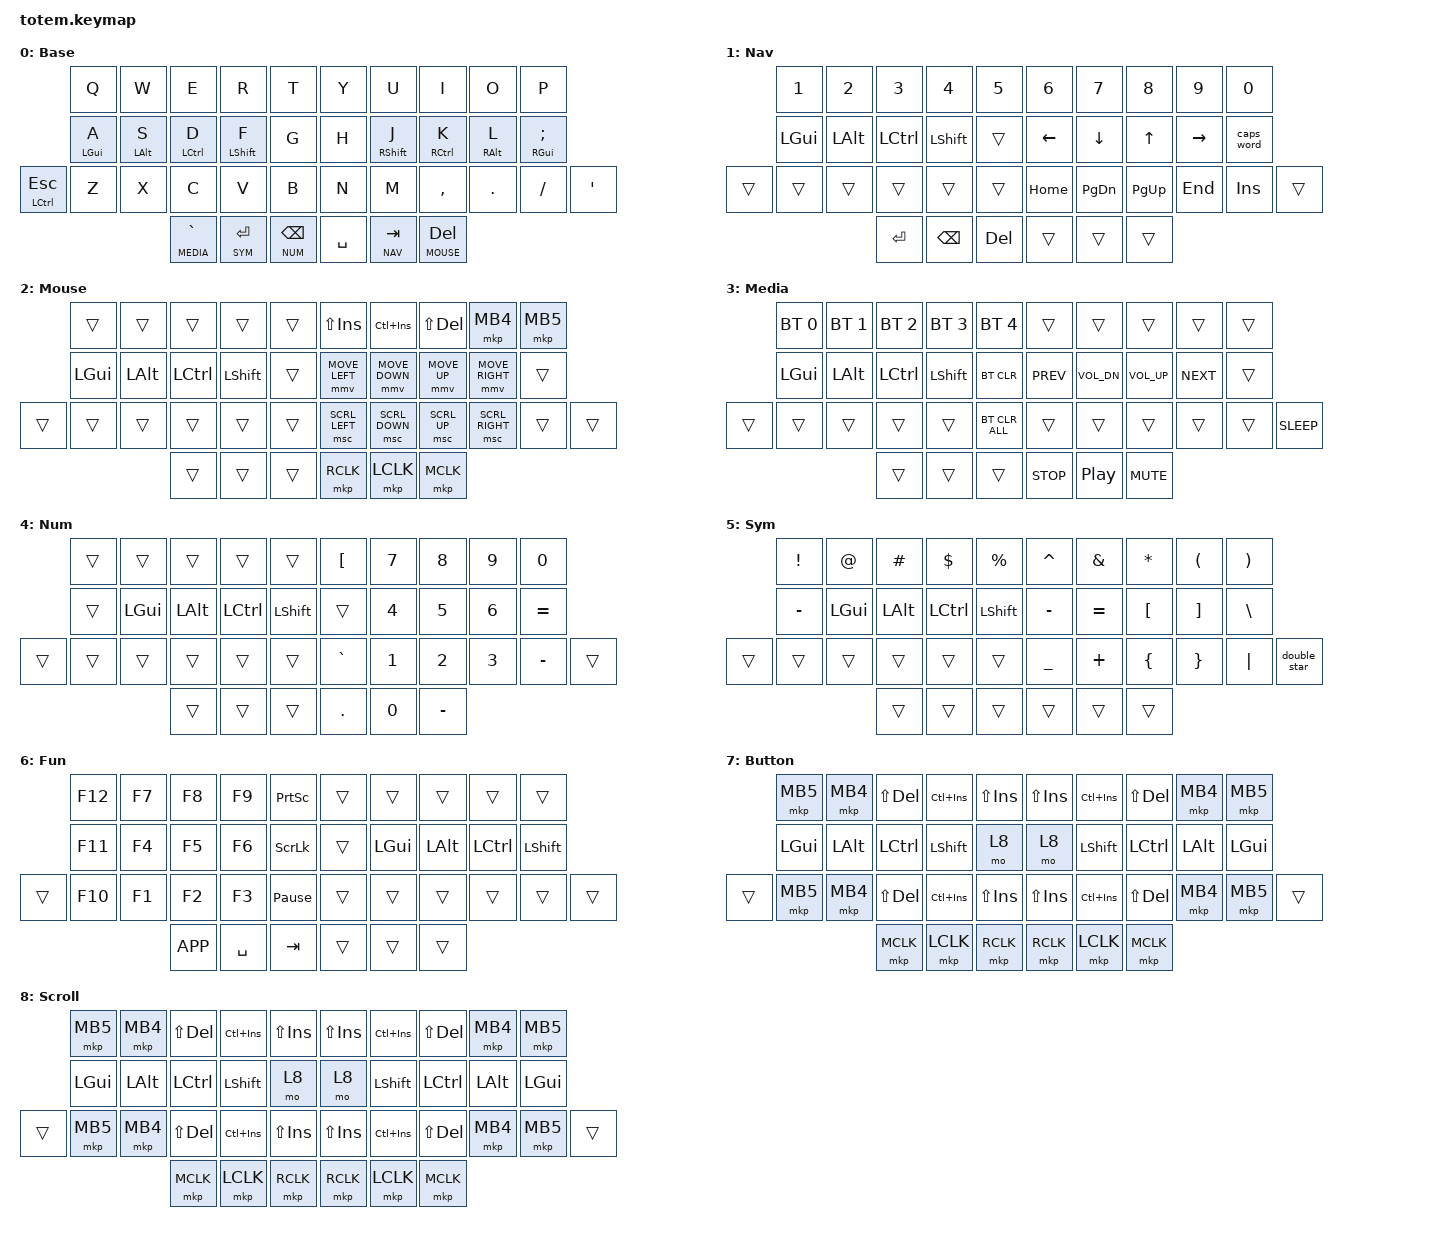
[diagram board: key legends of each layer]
//
//                                                        ▀▀▀▀▀     ▀▀▀▀▀          ▀▀█▀▀
//                                                        ▄▀▀▀▄  ▄  ▄▀▀▀▄  ▄  ▄▀▀▀▄  █  ▄▀▀▀▄
//                                                        █   █  █  █   █  █  █   █  █  █   █
//                                                         ▀▀▀   █   ▀▀▀   █   ▀▀▀   ▀   ▀▀▀
//                                                               █      ▄▄▄█▄▄▄    █   █  
//                                                               ▀      █  █  █     █▄█
//                                                             ▀▀▀▀▀    █  █  █      ▀
//                                                                      ▀  ▀  ▀
//
// ▄▄▄▄▄▄▄▄▄▄▄▄▄▄▄▄▄▄▄▄▄▄▄▄▄▄▄▄▄▄▄▄▄▄▄▄▄▄▄▄▄▄▄▄▄▄▄▄▄▄▄▄▄▄▄▄▄▄▄▄▄▄▄▄▄▄▄▄▄▄▄▄▄▄▄▄▄▄▄▄▄▄▄▄▄▄▄▄▄▄▄▄▄▄▄▄▄▄▄▄▄▄▄▄▄▄▄▄▄▄▄▄▄▄▄▄▄▄▄▄▄▄▄▄▄▄▄▄▄▄▄▄▄▄▄▄▄▄▄▄▄▄▄▄▄▄▄▄▄

#include <behaviors.dtsi>
#include <dt-bindings/zmk/keys.h>
#include <dt-bindings/zmk/pointing.h>
#include <dt-bindings/zmk/bt.h>

#define BASE        0
#define NAV         1
#define MOUSE       2
#define MEDIA       3
#define NUM         4
#define SYM         5
#define FUN         6
#define BUTTON      7

// Key position definitions for 38-key Totem layout

#define KEYS_L 0 1 2 3 4 10 11 12 13 14 20 21 22 23 24 25  // left hand
#define KEYS_R 5 6 7 8 9 15 16 17 18 19 26 27 28 29 30 31  // right hand
#define THUMBS 32 33 34 35 36 37                           // thumbs

&mt {
    quick-tap-ms = <100>;
    global-quick-tap;
    flavor = "tap-preferred";
    tapping-term-ms = <170>;
};

&lt {
    tapping-term-ms = <240>;
    flavor = "balanced";
    quick-tap-ms = <150>;
};

/ {
    macros {
        double_star: double_star {
            compatible = "zmk,behavior-macro";
            #binding-cells = <0>;
            bindings = <&kp ASTRK &kp ASTRK>;
        };
    };
};

/ {
    behaviors {
        // Timeless homerow mods for left hand
        // require-prior-idle-ms = 10500 / WPM (adjust based on typing speed)
        // Same-hand modifiers enabled (no hold-trigger restrictions)

        // hml: homerow_mods_left {
        //    compatible = "zmk,behavior-hold-tap";
        //    label = "HOMEROW_MODS_LEFT";
        //    #binding-cells = <2>;
        //    flavor = "balanced";
        //    tapping-term-ms = <280>;
        //    quick-tap-ms = <175>;
        //    require-prior-idle-ms = <150>;
        //    bindings = <&kp>, <&kp>;
        // };
        hml: homerow_mods_left {
            compatible = "zmk,behavior-hold-tap";
            label = "HOMEROW_MODS_LEFT";
            #binding-cells = <2>;
            flavor = "balanced";
            tapping-term-ms = <280>;
            quick-tap-ms = <175>;
            require-prior-idle-ms = <200>;
            bindings = <&kp>, <&kp>;
            hold-trigger-key-positions = <KEYS_R THUMBS>;
            hold-trigger-on-release;
        };

        // Timeless homerow mods for right hand
        // Urob's timeless config: opposite hand trigger only

        hmr: homerow_mods_right {
            compatible = "zmk,behavior-hold-tap";
            label = "HOMEROW_MODS_RIGHT";
            #binding-cells = <2>;
            flavor = "balanced";
            tapping-term-ms = <280>;
            quick-tap-ms = <175>;
            require-prior-idle-ms = <200>;
            bindings = <&kp>, <&kp>;

            hold-trigger-key-positions = <KEYS_L THUMBS>;
            hold-trigger-on-release;
        };
    };

    combos {
        compatible = "zmk,combos";

        shift_caps_word_combo {
            bindings = <&caps_word>;
            key-positions = <13 16>;
            timeout-ms = <100>;
            require-prior-idle-ms = <200>;
        };

        jk_escape_combo {
            bindings = <&kp ESC>;
            key-positions = <16 17>;
            timeout-ms = <50>;
            require-prior-idle-ms = <200>;
        };

        ui_backspace_combo {
            bindings = <&kp BSPC>;
            key-positions = <6 7>;
            timeout-ms = <50>;
            require-prior-idle-ms = <200>;
        };
    };

    keymap {
        compatible = "zmk,keymap";

        base_layer {
            display-name = "Base";
            bindings = <
               &kp Q        &kp W        &kp E          &kp R          &kp T            &kp Y        &kp U         &kp I         &kp O        &kp P
               &hml LGUI A  &hml LALT S  &hml LCTRL D   &hml LSHFT F   &kp G            &kp H        &hmr RSHFT J  &hmr RCTRL K  &hmr RALT L  &hmr RGUI SEMICOLON
&mt LCTRL ESC  &kp Z        &kp X        &kp C          &kp V          &kp B            &kp N        &kp M         &kp COMMA     &kp DOT      &kp SLASH            &kp SQT
                                         &lt MEDIA GRAVE  &lt SYM RET   &lt NUM BSPC    &kp SPACE     &lt NAV TAB    &lt MOUSE DEL
            >;
        };

        nav_layer {
            display-name = "Nav";
            bindings = <
        &kp N1    &kp N2    &kp N3     &kp N4     &kp N5    &kp N6       &kp N7       &kp N8       &kp N9      &kp N0
        &kp LGUI  &kp LALT  &kp LCTRL  &kp LSHFT  &trans    &kp LEFT     &kp DOWN     &kp UP       &kp RIGHT   &caps_word
&trans  &trans    &trans    &trans     &trans     &trans    &kp HOME     &kp PG_DN    &kp PG_UP    &kp END     &kp INS      &trans
                            &kp RET    &kp BSPC   &kp DEL   &trans       &trans       &trans
            >;
        };

        mouse_layer {
            display-name = "Mouse";
            bindings = <
        &trans    &trans    &trans     &trans     &trans    &kp LS(INS)     &kp LC(INS)     &kp LS(DEL)   &mkp MB4         &mkp MB5
        &kp LGUI  &kp LALT  &kp LCTRL  &kp LSHFT  &trans    &mmv MOVE_LEFT  &mmv MOVE_DOWN  &mmv MOVE_UP  &mmv MOVE_RIGHT  &trans
&trans  &trans    &trans    &trans     &trans     &trans    &msc SCRL_LEFT  &msc SCRL_DOWN  &msc SCRL_UP  &msc SCRL_RIGHT  &trans    &trans
                            &trans     &trans     &trans    &mkp RCLK       &mkp LCLK       &mkp MCLK
            >;
        };

        media_layer {
            display-name = "Media";
            bindings = <
        &bt BT_SEL 0  &bt BT_SEL 1  &bt BT_SEL 2  &bt BT_SEL 3  &bt BT_SEL 4    &trans      &trans        &trans        &trans      &trans
        &kp LGUI      &kp LALT      &kp LCTRL     &kp LSHFT     &bt BT_CLR      &kp C_PREV  &kp C_VOL_DN  &kp C_VOL_UP  &kp C_NEXT  &trans
&trans  &trans        &trans        &trans        &trans        &bt BT_CLR_ALL  &trans      &trans        &trans        &trans      &trans  &kp C_SLEEP
                                    &trans        &trans        &trans          &kp C_STOP  &kp C_PP      &kp C_MUTE
            >;
        };

        num_layer {
            display-name = "Num";
            bindings = <
        &trans  &trans     &trans     &trans    &trans       &kp LBKT  &kp N7  &kp N8   &kp N9  &kp N0
        &trans  &kp LGUI   &kp LALT   &kp LCTRL &kp LSHFT    &trans    &kp N4  &kp N5   &kp N6  &kp EQUAL
&trans  &trans  &trans     &trans     &trans    &trans       &kp GRAVE &kp N1  &kp N2   &kp N3  &kp MINUS  &trans
                           &trans     &trans    &trans       &kp DOT   &kp N0  &kp MINUS
            >;
        };

        sym_layer {
            display-name = "Sym";
            bindings = <
        &kp EXCL   &kp AT     &kp HASH  &kp DLLR  &kp PRCNT    &kp CARET  &kp AMPS   &kp ASTRK &kp LPAR  &kp RPAR
        &kp MINUS  &kp LGUI   &kp LALT  &kp LCTRL &kp LSHFT    &kp MINUS  &kp EQUAL  &kp LBKT  &kp RBKT  &kp BSLH
&trans  &trans     &trans     &trans    &trans    &trans       &kp UNDER  &kp PLUS   &kp LBRC  &kp RBRC  &kp PIPE  &double_star
                              &trans    &trans    &trans       &trans     &trans     &trans
            >;
        };

        fun_layer {
            display-name = "Fun";
            bindings = <
        &kp F12  &kp F7  &kp F8     &kp F9     &kp PSCRN          &trans  &trans     &trans     &trans    &trans
        &kp F11  &kp F4  &kp F5     &kp F6     &kp SLCK           &trans  &kp LGUI   &kp LALT   &kp LCTRL  &kp LSHFT
&trans  &kp F10  &kp F1  &kp F2     &kp F3     &kp PAUSE_BREAK    &trans  &trans     &trans     &trans    &trans    &trans
                         &kp K_APP  &kp SPACE  &kp TAB            &trans  &trans     &trans
            >;
        };

        button_layer {
            display-name = "Button";
            bindings = <
        &mkp MB5  &mkp MB4  &kp LS(DEL)  &kp LC(INS)  &kp LS(INS)    &kp LS(INS)  &kp LC(INS)  &kp LS(DEL)  &mkp MB4  &mkp MB5
        &kp LGUI  &kp LALT  &kp LCTRL    &kp LSHFT    &mo 8          &mo 8        &kp LSHFT    &kp LCTRL    &kp LALT  &kp LGUI
&trans  &mkp MB5  &mkp MB4  &kp LS(DEL)  &kp LC(INS)  &kp LS(INS)    &kp LS(INS)  &kp LC(INS)  &kp LS(DEL)  &mkp MB4  &mkp MB5  &trans
                            &mkp MCLK    &mkp LCLK    &mkp RCLK      &mkp RCLK    &mkp LCLK    &mkp MCLK
            >;
        };

        scroll_layer {
            display-name = "Scroll";
            bindings = <
        &mkp MB5  &mkp MB4  &kp LS(DEL)  &kp LC(INS)  &kp LS(INS)    &kp LS(INS)  &kp LC(INS)  &kp LS(DEL)  &mkp MB4  &mkp MB5
        &kp LGUI  &kp LALT  &kp LCTRL    &kp LSHFT    &mo 8          &mo 8        &kp LSHFT    &kp LCTRL    &kp LALT  &kp LGUI
&trans  &mkp MB5  &mkp MB4  &kp LS(DEL)  &kp LC(INS)  &kp LS(INS)    &kp LS(INS)  &kp LC(INS)  &kp LS(DEL)  &mkp MB4  &mkp MB5  &trans
                            &mkp MCLK    &mkp LCLK    &mkp RCLK      &mkp RCLK    &mkp LCLK    &mkp MCLK
            >;
        };
    };
};
